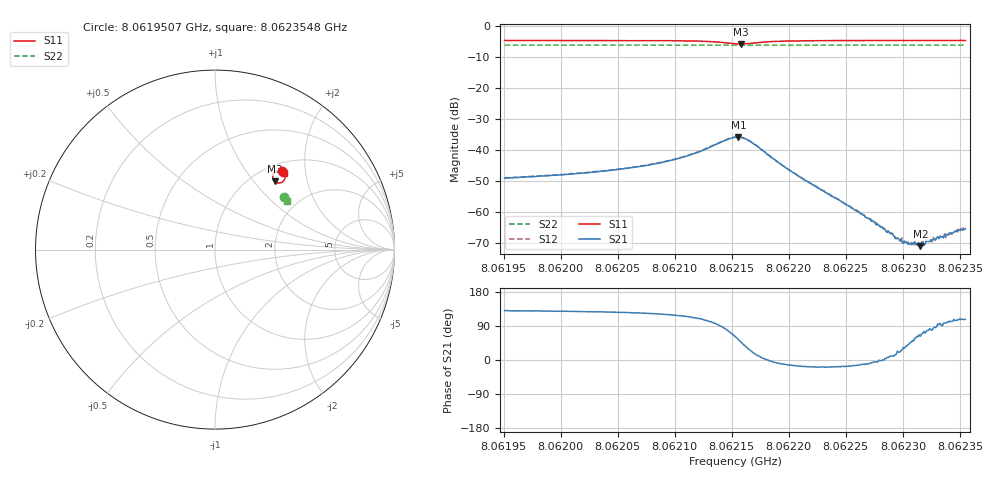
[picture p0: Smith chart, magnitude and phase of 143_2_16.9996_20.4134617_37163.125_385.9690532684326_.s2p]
#  HZ  S  RI  R  50.00
! Rohde & Schwarz Vector Network Analyzer
! Rohde-Schwarz,ZNB20-2Port,1311601062101988,3.16
! Created: UTC 3/20/2024, 10:58:26 PM
! freq[Hz]  re:S11  im:S11  re:S21  im:S21  re:S12  im:S12  re:S22  im:S22
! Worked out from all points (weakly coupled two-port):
!   401 points, 8.0619507 GHz to 8.0623548 GHz, reference 50 ohm
!   highest |S21| = -35.95 dB at 8.0621558 GHz (marker M1); lowest = -71.0 dB at 8.0623154 GHz (marker M2)
!   lowest |S11| = -5.9 dB at 8.0621578 GHz (marker M3), VSWR 3.04, Z = 63.2 + j64.4 ohm
!   |S11| at or under -10 dB: nowhere
!   |S22| runs from -6.4 to -6.3 dB; largest |S21 - S12| = 0.0012
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8.06195069e9  0.3731 0.4383  -0.00227 0.00269  -0.0021 0.00283  0.3868 0.2913
8.06201838e9  0.379 0.4326  -0.00259 0.00332  -0.00244 0.00353  0.3892 0.288
8.0620588e9  0.3834 0.4272  -0.00295 0.00416  -0.00271 0.00437  0.3905 0.286
8.06208607e9  0.3868 0.4212  -0.00318 0.00527  -0.00292 0.00551  0.3916 0.2843
8.06211335e9  0.3902 0.4094  -0.00332 0.0076  -0.00286 0.00792  0.3922 0.2825
8.06213659e9  0.3844 0.3857  -0.00104 0.0123  -0.000229 0.0124  0.3923 0.2805
8.06215276e9  0.3482 0.3717  0.00743 0.0141  0.00835 0.0137  0.3911 0.2796
8.06215579e9  0.3384 0.3755  0.00949 0.0128  0.0104 0.0123  0.3909 0.2799
8.06215781e9  0.3324 0.3799  0.0106 0.0118  0.0114 0.0111  0.3907 0.2802
8.0621669e9  0.3213 0.407  0.0122 0.00543  0.0127 0.00459  0.3909 0.281
8.06219923e9  0.3528 0.4396  0.00475 -0.0011  0.00475 -0.0014  0.3938 0.2805
8.06222045e9  0.3638 0.439  0.00263 -0.00087  0.0026 -0.00102  0.395 0.2792
8.06226188e9  0.3741 0.4353  0.000954 -0.000223  0.000944 -0.00031  0.3966 0.2769
8.06228814e9  0.3778 0.433  0.000463 7.17e-05  0.000461 1.58e-05  0.3975 0.2756
8.06229522e9  0.3788 0.4327  0.00035 0.000152  0.000354 0.000127  0.3978 0.2752
8.06230128e9  0.3793 0.432  0.000278 0.000169  0.000274 0.00021  0.3979 0.2748
8.06231138e9  0.3805 0.4312  0.000164 0.000271  0.000202 0.00022  0.3984 0.2744
8.06231542e9  0.3809 0.431  0.000129 0.000251  0.000111 0.000289  0.3985 0.2741
8.06231745e9  0.3812 0.431  0.000108 0.000308  0.000152 0.000322  0.3985 0.2741
8.06233563e9  0.3829 0.4297  -4.68e-05 0.00038  -3.09e-05 0.000416  0.3992 0.2731
8.06234675e9  0.3839 0.4289  -0.000129 0.000484  -0.000128 0.000479  0.3995 0.2727
8.06235483e9  0.3846 0.4285  -0.00016 0.000517  -0.000136 0.000515  0.3997 0.2722
